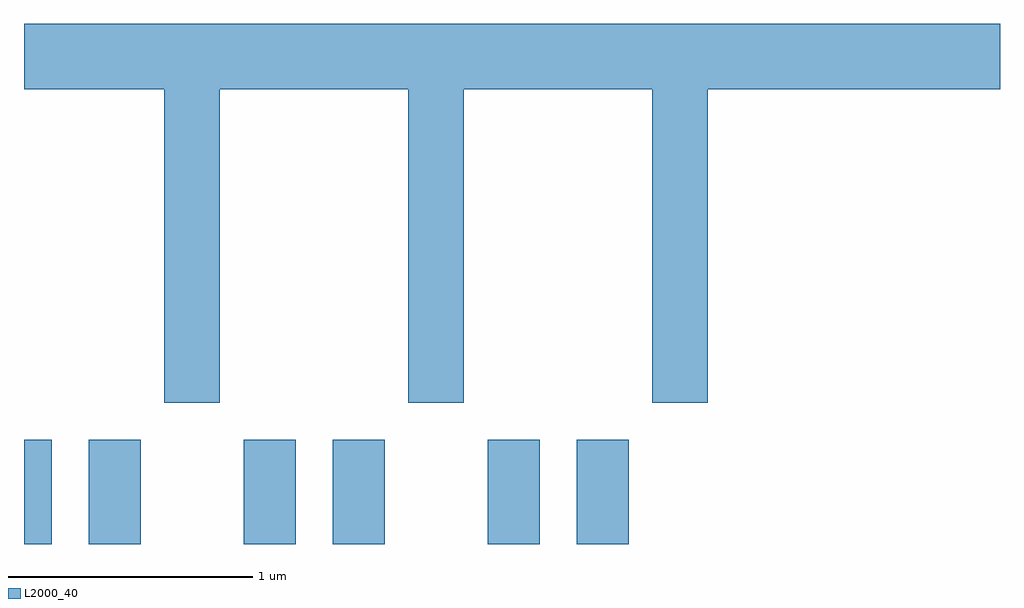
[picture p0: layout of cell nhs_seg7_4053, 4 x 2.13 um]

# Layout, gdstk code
import gdstk
lib = gdstk.Library(unit=1e-6, precision=1e-09)
def R(c, l, rs):  # rectangles x0, y0, x1, y1
    for r in rs: c.add(gdstk.rectangle(r[:2], r[2:], *l))
def P(c, l, *ps):  # polygons
    for p in ps: c.add(gdstk.Polygon(p, *l))
L2000_40 = (2000, 40)

nhs_seg7_4053 = lib.new_cell('nhs_seg7_4053')
R(nhs_seg7_4053, L2000_40, [(309.611,1690.252,309.724,1690.679), (309.876,1690.252,310.089,1690.679), (310.511,1690.252,310.724,1690.679), (310.876,1690.252,311.089,1690.679), (311.511,1690.252,311.724,1690.679), (311.876,1690.252,312.089,1690.679)])
P(nhs_seg7_4053, L2000_40, [(310.414,1692.116),(311.186,1692.116),(311.186,1690.831),(311.414,1690.831),(311.414,1692.116),(312.186,1692.116),(312.186,1690.831),(312.414,1690.831),(312.414,1692.116),(313.611,1692.116),(313.611,1692.384),(309.611,1692.384),(309.611,1692.116),(310.186,1692.116),(310.186,1690.831),(310.414,1690.831)])

lib.write_gds('nhs_seg7_4053.gds')
